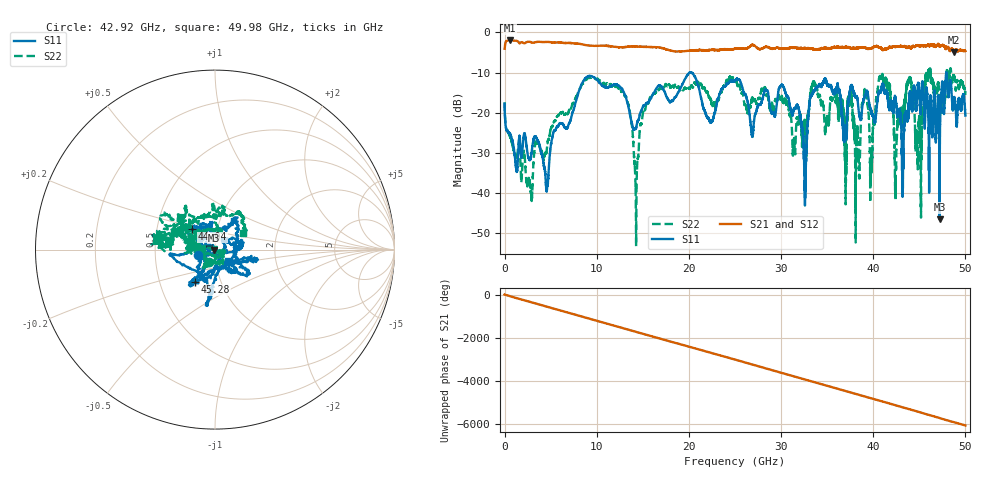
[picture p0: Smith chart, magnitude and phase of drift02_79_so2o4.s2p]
!Created with skrf (http://scikit-rf.org).
# Hz S RI R 50.0
!freq ReS11 ImS11 ReS21 ImS21 ReS12 ImS12 ReS22 ImS22
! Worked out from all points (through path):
!   10001 points, 300 kHz to 50 GHz, reference 50 ohm
!   highest |S21| = -1.99 dB at 540.3 MHz (marker M1); lowest = -4.9 dB at 48.77 GHz (marker M2)
!   group delay of S21, straight-line fit = 337 ps
!   lowest |S11| = -46.7 dB at 47.2 GHz (marker M3), VSWR 1.01, Z = 49.6 - j0.24 ohm
!   |S11| at or under -10 dB: start of sweep to 20.06 GHz; 20.24 GHz to 47.93 GHz (27.69 GHz wide, 81.2 % of centre); 47.93 GHz to end of sweep (the widest 3 of 8)
!   |S22| runs from -53.4 to -8.9 dB; largest |S21 - S12| = 0.034
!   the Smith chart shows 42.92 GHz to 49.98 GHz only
!   S11 on the Smith chart (normalised r, x): 42.92 GHz: 0.83, -0.05; 44.04 GHz: 0.75, +0.18; 45.28 GHz: 0.75, -0.28; 49.98 GHz: 1.15, -0.15
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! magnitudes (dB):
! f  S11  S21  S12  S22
! 300 kHz  -17.8  -4.1  -4.0  -17.4
! 540.3 MHz  -25.1  -2.0  -2.0  -25.8
! 4.565 GHz  -39.8  -2.4  -2.4  -29.5
! 8.335 GHz  -13.0  -2.9  -2.9  -13.2
! 13 GHz  -15.3  -3.6  -3.6  -15.6
! 14.28 GHz  -23.8  -3.5  -3.5  -49.8
! 16.67 GHz  -13.3  -3.7  -3.7  -14.5
! 25 GHz  -12.1  -4.1  -4.1  -12.1
! 26.86 GHz  -25.7  -3.1  -3.1  -16.5
! 30.19 GHz  -13.3  -4.1  -4.1  -17.0
! 32.58 GHz  -37.9  -4.0  -4.0  -24.3
! 33.34 GHz  -15.7  -4.1  -4.1  -13.5
! 37.48 GHz  -14.5  -3.8  -3.8  -16.1
! 38.29 GHz  -16.8  -3.9  -3.9  -23.6
! 41.67 GHz  -18.3  -3.8  -3.9  -12.6
! 42.92 GHz  -20.1  -3.4  -3.4  -22.0
! 44.04 GHz  -15.3  -3.9  -3.9  -11.4
! 45.28 GHz  -13.5  -3.2  -3.3  -20.5
! 47.2 GHz  -46.7  -3.4  -3.4  -16.5
! 48.77 GHz  -16.6  -4.9  -4.8  -10.7
! 49.98 GHz  -20.3  -4.6  -4.5  -14.8
! 50 GHz  -20.8  -4.6  -4.6  -15.3
